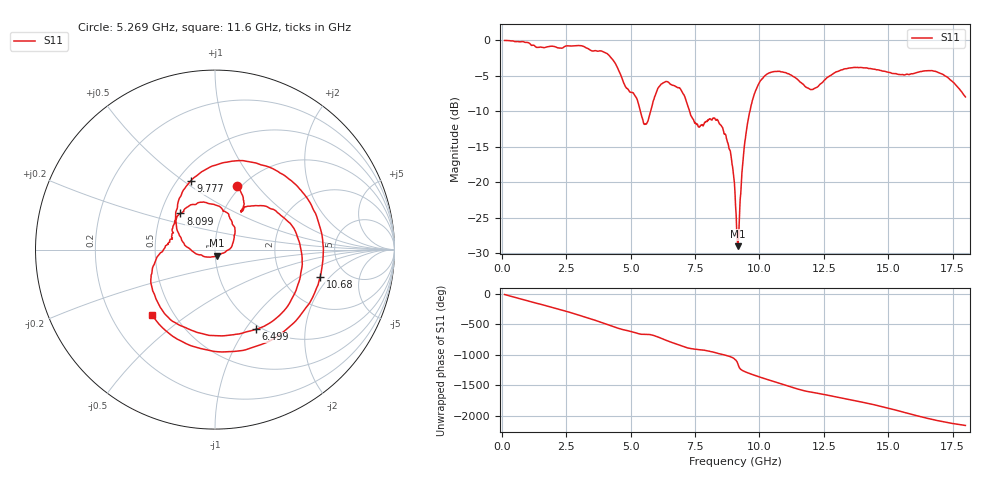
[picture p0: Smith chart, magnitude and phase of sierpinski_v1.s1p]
!Keysight Technologies,N5222B,MY60213399,A.14.00.23
!Date: Monday, June 05, 2023 20:26:57
!Correction: S11(C  1-Port  )
!S1P File: Measurement: :
# Hz S  dB  R 50
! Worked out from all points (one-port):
!   1601 points, 100 MHz to 18 GHz, reference 50 ohm
!   lowest |S11| = -29.0 dB at 9.162 GHz (marker M1), VSWR 1.07, Z = 51.1 - j3.4 ohm
!   |S11| at or under -10 dB: 5.377 GHz to 5.773 GHz (395.1 MHz wide, 7.09 % of centre); 7.287 GHz to 9.63 GHz (2.343 GHz wide, 27.7 % of centre)
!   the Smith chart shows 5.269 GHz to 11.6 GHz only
!   S11 on the Smith chart (normalised r, x): 5.269 GHz: 0.97, +0.79; 6.499 GHz: 0.95, -1.12; 8.099 GHz: 0.63, +0.28; 9.777 GHz: 0.58, +0.53; 10.68 GHz: 3.27, -1.55; 11.6 GHz: 0.38, -0.37
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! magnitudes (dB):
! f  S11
! 100 MHz  0.0
! 2.337 GHz  -1.1
! 3.937 GHz  -1.6
! 4.575 GHz  -4.6
! 5.269 GHz  -8.5
! 5.593 GHz  -11.8
! 6.096 GHz  -6.5
! 6.499 GHz  -6.0
! 6.812 GHz  -6.6
! 7.562 GHz  -11.8
! 8.099 GHz  -11.1
! 8.435 GHz  -11.7
! 8.748 GHz  -14.2
! 8.938 GHz  -17.5
! 9.05 GHz  -21.5
! 9.162 GHz  -29.0
! 9.218 GHz  -25.2
! 9.453 GHz  -13.9
! 9.777 GHz  -7.8
! 10.15 GHz  -5.2
! 10.68 GHz  -4.4
! 11.29 GHz  -5.0
! 11.6 GHz  -5.9
! 12.07 GHz  -6.9
! 13.53 GHz  -3.9
! 15.76 GHz  -4.8
! 16.91 GHz  -4.5
! 18 GHz  -8.0
